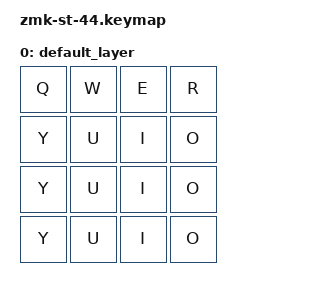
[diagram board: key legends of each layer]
/*
 * Copyright (c) 2020 The ZMK Contributors
 *
 * SPDX-License-Identifier: MIT
 */

 #undef ZMK_BEHAVIORS_KEEP_ALL

#define ZMK_BEHAVIORS_KEEP_SK
#define ZMK_BEHAVIORS_KEEP_MT
#define ZMK_BEHAVIORS_KEEP_KT

#include <behaviors.dtsi>
#include <dt-bindings/zmk/keys.h>
#include <dt-bindings/zmk/bt.h>

/ {
    keymap {
        compatible = "zmk,keymap";
        default_layer {
            bindings = <
                &kp Q &kp W &kp E &kp R
                &kp Y &kp U &kp I &kp O
                &kp Y &kp U &kp I &kp O
                &kp Y &kp U &kp I &kp O
            >;
        };
    };
};
